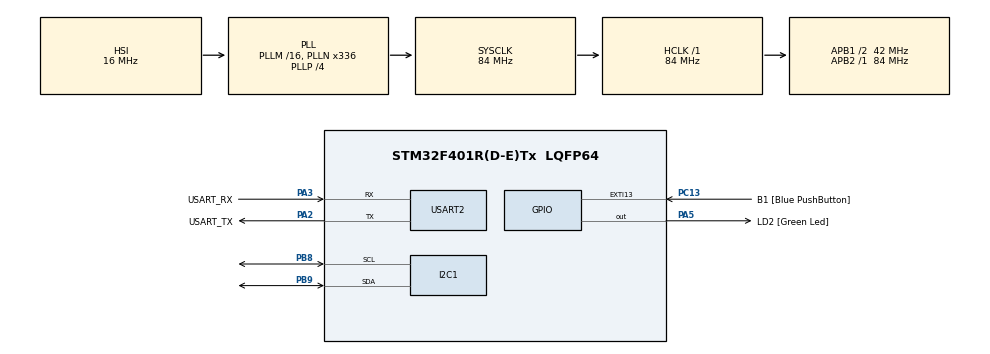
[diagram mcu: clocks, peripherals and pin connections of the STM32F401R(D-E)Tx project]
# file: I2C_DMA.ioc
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Dma.I2C1_RX.1.Direction=DMA_PERIPH_TO_MEMORY
Dma.I2C1_RX.1.FIFOMode=DMA_FIFOMODE_DISABLE
Dma.I2C1_RX.1.Instance=DMA1_Stream0
Dma.I2C1_RX.1.MemDataAlignment=DMA_MDATAALIGN_BYTE
Dma.I2C1_RX.1.MemInc=DMA_MINC_ENABLE
Dma.I2C1_RX.1.Mode=DMA_NORMAL
Dma.I2C1_RX.1.PeriphDataAlignment=DMA_PDATAALIGN_BYTE
Dma.I2C1_RX.1.PeriphInc=DMA_PINC_DISABLE
Dma.I2C1_RX.1.Priority=DMA_PRIORITY_LOW
Dma.I2C1_TX.0.Direction=DMA_MEMORY_TO_PERIPH
Dma.I2C1_TX.0.FIFOMode=DMA_FIFOMODE_DISABLE
Dma.I2C1_TX.0.Instance=DMA1_Stream6
Dma.I2C1_TX.0.MemDataAlignment=DMA_MDATAALIGN_BYTE
Dma.I2C1_TX.0.MemInc=DMA_MINC_ENABLE
Dma.I2C1_TX.0.Mode=DMA_NORMAL
Dma.I2C1_TX.0.PeriphDataAlignment=DMA_PDATAALIGN_BYTE
Dma.I2C1_TX.0.PeriphInc=DMA_PINC_DISABLE
Dma.I2C1_TX.0.Priority=DMA_PRIORITY_LOW
Dma.Request0=I2C1_TX
Dma.Request1=I2C1_RX
Mcu.Family=STM32F4
Mcu.Name=STM32F401R(D-E)Tx
Mcu.Package=LQFP64
NVIC.DMA1_Stream0_IRQn=true\:0\:0\:false\:false\:true\:false\:true\:true
NVIC.DMA1_Stream6_IRQn=true\:0\:0\:false\:false\:true\:false\:true\:true
NVIC.I2C1_EV_IRQn=true\:0\:0\:false\:false\:true\:true\:true\:true
NVIC.PriorityGroup=NVIC_PRIORITYGROUP_4
PA13.GPIO_Label=TMS
PA13.Mode=Trace_Asynchronous_SW
PA13.Signal=SYS_JTMS-SWDIO
PA14.GPIO_Label=TCK
PA14.Mode=Trace_Asynchronous_SW
PA14.Signal=SYS_JTCK-SWCLK
PA2.GPIO_Label=USART_TX
PA2.GPIO_Mode=GPIO_MODE_AF_PP
PA2.GPIO_PuPd=GPIO_NOPULL
PA2.GPIO_Speed=GPIO_SPEED_FREQ_LOW
PA2.Mode=Asynchronous
PA2.Signal=USART2_TX
PA3.GPIO_Label=USART_RX
PA3.GPIO_Mode=GPIO_MODE_AF_PP
PA3.GPIO_PuPd=GPIO_NOPULL
PA3.GPIO_Speed=GPIO_SPEED_FREQ_LOW
PA3.Mode=Asynchronous
PA3.Signal=USART2_RX
PA5.GPIO_Label=LD2 [Green Led]
PA5.GPIO_Mode=GPIO_MODE_OUTPUT_PP
PA5.GPIO_PuPd=GPIO_NOPULL
PA5.GPIO_Speed=GPIO_SPEED_FREQ_LOW
PA5.Signal=GPIO_Output
PB3.GPIO_Label=SWO
PB3.Mode=Trace_Asynchronous_SW
PB3.Signal=SYS_JTDO-SWO
PB8.Mode=I2C
PB8.Signal=I2C1_SCL
PB9.Mode=I2C
PB9.Signal=I2C1_SDA
PC13-ANTI_TAMP.GPIO_Label=B1 [Blue PushButton]
PC13-ANTI_TAMP.GPIO_ModeDefaultEXTI=GPIO_MODE_IT_FALLING
PC13-ANTI_TAMP.GPIO_PuPd=GPIO_NOPULL
PC13-ANTI_TAMP.Signal=GPXTI13
PC14-OSC32_IN.Mode=LSE-External-Oscillator
PC14-OSC32_IN.Signal=RCC_OSC32_IN
PC15-OSC32_OUT.Mode=LSE-External-Oscillator
PC15-OSC32_OUT.Signal=RCC_OSC32_OUT
PH0\ -\ OSC_IN.Mode=HSE-External-Clock-Source
PH0\ -\ OSC_IN.Signal=RCC_OSC_IN
PH1\ -\ OSC_OUT.Mode=HSE-External-Clock-Source
PH1\ -\ OSC_OUT.Signal=RCC_OSC_OUT
ProjectManager.HeapSize=0x200
ProjectManager.StackSize=0x400
ProjectManager.TargetToolchain=STM32CubeIDE
RCC.48MHZClocksFreq_Value=48000000
RCC.AHBFreq_Value=84000000
RCC.APB1CLKDivider=RCC_HCLK_DIV2
RCC.APB1Freq_Value=42000000
RCC.APB1TimFreq_Value=84000000
RCC.APB2Freq_Value=84000000
RCC.APB2TimFreq_Value=84000000
RCC.CortexFreq_Value=84000000
RCC.HCLKFreq_Value=84000000
RCC.HSE_VALUE=8000000
RCC.HSI_VALUE=16000000
RCC.PLLN=336
RCC.PLLP=RCC_PLLP_DIV4
RCC.PLLQ=7
RCC.SYSCLKFreq_VALUE=84000000
RCC.SYSCLKSource=RCC_SYSCLKSOURCE_PLLCLK
RCC.VCOOutputFreq_Value=336000000
USART2.VirtualMode=VM_ASYNC
board=NUCLEO-F401RE

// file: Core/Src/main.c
/* USER CODE BEGIN Header */
/**
  ******************************************************************************
  * @file           : main.c
  * @brief          : Main program body
  ******************************************************************************
  * @attention
  *
  * Copyright (c) 2025 STMicroelectronics.
  * All rights reserved.
  *
  * This software is licensed under terms that can be found in the LICENSE file
  * in the root directory of this software component.
  * If no LICENSE file comes with this software, it is provided AS-IS.
  *
  ******************************************************************************
  */
/* USER CODE END Header */
#include "main.h"

I2C_HandleTypeDef hi2c1;
DMA_HandleTypeDef hdma_i2c1_tx;
DMA_HandleTypeDef hdma_i2c1_rx;

UART_HandleTypeDef huart2;

/* USER CODE BEGIN PV */
uint8_t txBuffer[] = "Hello Arduino!";
uint8_t rxBuffer[11];
volatile uint8_t txInProgress = 0;
volatile uint8_t rxInProgress = 0;
/* USER CODE END PV */

void SystemClock_Config(void);
static void MX_GPIO_Init(void);
static void MX_DMA_Init(void);
static void MX_USART2_UART_Init(void);
static void MX_I2C1_Init(void);

/* USER CODE BEGIN 0 */
void HAL_I2C_MasterTxCpltCallback(I2C_HandleTypeDef *hi2c) {
	if (hi2c->Instance == I2C1)
	{
		txInProgress = 0;
	    rxInProgress = 1;
	    HAL_I2C_Master_Receive_DMA(&hi2c1, 0x08 << 1, rxBuffer, sizeof(rxBuffer));
	}
}

void HAL_I2C_MasterRxCpltCallback(I2C_HandleTypeDef *hi2c) {
	if (hi2c->Instance == I2C1)
	{
		rxInProgress = 0;
	    txInProgress = 1;
	    HAL_UART_Transmit(&huart2, rxBuffer, strlen((char*)rxBuffer), HAL_MAX_DELAY);
	    HAL_I2C_Master_Transmit_DMA(&hi2c1, 0x08 << 1, txBuffer, (sizeof(txBuffer)-1));
	}
}
/* USER CODE END 0 */

int main(void)
{

  /* MCU Configuration--------------------------------------------------------*/

  /* Reset of all peripherals, Initializes the Flash interface and the Systick. */
  HAL_Init();

  /* Configure the system clock */
  SystemClock_Config();

  /* Initialize all configured peripherals */
  MX_GPIO_Init();
  MX_DMA_Init();
  MX_USART2_UART_Init();
  MX_I2C1_Init();
  /* USER CODE BEGIN 2 */
  txInProgress = 1;
  HAL_I2C_Master_Transmit_DMA(&hi2c1, 0x08 << 1, txBuffer, (sizeof(txBuffer)-1));
  /* USER CODE END 2 */

  /* Infinite loop */
  /* USER CODE BEGIN WHILE */
  while (1)
  {
	  HAL_GPIO_TogglePin(GPIOA, GPIO_PIN_5);
	  HAL_Delay(100); // simulate periodic work
    /* USER CODE END WHILE */

  }
}

void SystemClock_Config(void)
{
  RCC_OscInitTypeDef RCC_OscInitStruct = {0};
  RCC_ClkInitTypeDef RCC_ClkInitStruct = {0};

  /** Configure the main internal regulator output voltage
  */
  __HAL_RCC_PWR_CLK_ENABLE();
  __HAL_PWR_VOLTAGESCALING_CONFIG(PWR_REGULATOR_VOLTAGE_SCALE2);

  /** Initializes the RCC Oscillators according to the specified parameters
  * in the RCC_OscInitTypeDef structure.
  */
  RCC_OscInitStruct.OscillatorType = RCC_OSCILLATORTYPE_HSI;
  RCC_OscInitStruct.HSIState = RCC_HSI_ON;
  RCC_OscInitStruct.HSICalibrationValue = RCC_HSICALIBRATION_DEFAULT;
  RCC_OscInitStruct.PLL.PLLState = RCC_PLL_ON;
  RCC_OscInitStruct.PLL.PLLSource = RCC_PLLSOURCE_HSI;
  RCC_OscInitStruct.PLL.PLLM = 16;
  RCC_OscInitStruct.PLL.PLLN = 336;
  RCC_OscInitStruct.PLL.PLLP = RCC_PLLP_DIV4;
  RCC_OscInitStruct.PLL.PLLQ = 7;
  if (HAL_RCC_OscConfig(&RCC_OscInitStruct) != HAL_OK)
  {
    Error_Handler();
  }

  /** Initializes the CPU, AHB and APB buses clocks
  */
  RCC_ClkInitStruct.ClockType = RCC_CLOCKTYPE_HCLK|RCC_CLOCKTYPE_SYSCLK
                              |RCC_CLOCKTYPE_PCLK1|RCC_CLOCKTYPE_PCLK2;
  RCC_ClkInitStruct.SYSCLKSource = RCC_SYSCLKSOURCE_PLLCLK;
  RCC_ClkInitStruct.AHBCLKDivider = RCC_SYSCLK_DIV1;
  RCC_ClkInitStruct.APB1CLKDivider = RCC_HCLK_DIV2;
  RCC_ClkInitStruct.APB2CLKDivider = RCC_HCLK_DIV1;

  if (HAL_RCC_ClockConfig(&RCC_ClkInitStruct, FLASH_LATENCY_2) != HAL_OK)
  {
    Error_Handler();
  }
}

static void MX_I2C1_Init(void)
{

  hi2c1.Instance = I2C1;
  hi2c1.Init.ClockSpeed = 100000;
  hi2c1.Init.DutyCycle = I2C_DUTYCYCLE_2;
  hi2c1.Init.OwnAddress1 = 0;
  hi2c1.Init.AddressingMode = I2C_ADDRESSINGMODE_7BIT;
  hi2c1.Init.DualAddressMode = I2C_DUALADDRESS_DISABLE;
  hi2c1.Init.OwnAddress2 = 0;
  hi2c1.Init.GeneralCallMode = I2C_GENERALCALL_DISABLE;
  hi2c1.Init.NoStretchMode = I2C_NOSTRETCH_DISABLE;
  if (HAL_I2C_Init(&hi2c1) != HAL_OK)
  {
    Error_Handler();
  }
  /* USER CODE BEGIN I2C1_Init 2 */
  __HAL_LINKDMA(&hi2c1, hdmatx, hdma_i2c1_tx);
  __HAL_LINKDMA(&hi2c1, hdmarx, hdma_i2c1_rx);
  /* USER CODE END I2C1_Init 2 */

}

static void MX_USART2_UART_Init(void)
{

  huart2.Instance = USART2;
  huart2.Init.BaudRate = 115200;
  huart2.Init.WordLength = UART_WORDLENGTH_8B;
  huart2.Init.StopBits = UART_STOPBITS_1;
  huart2.Init.Parity = UART_PARITY_NONE;
  huart2.Init.Mode = UART_MODE_TX_RX;
  huart2.Init.HwFlowCtl = UART_HWCONTROL_NONE;
  huart2.Init.OverSampling = UART_OVERSAMPLING_16;
  if (HAL_UART_Init(&huart2) != HAL_OK)
  {
    Error_Handler();
  }

}

static void MX_DMA_Init(void)
{

  /* DMA controller clock enable */
  __HAL_RCC_DMA1_CLK_ENABLE();

  /* DMA interrupt init */
  /* DMA1_Stream0_IRQn interrupt configuration */
  HAL_NVIC_SetPriority(DMA1_Stream0_IRQn, 0, 0);
  HAL_NVIC_EnableIRQ(DMA1_Stream0_IRQn);
  /* DMA1_Stream6_IRQn interrupt configuration */
  HAL_NVIC_SetPriority(DMA1_Stream6_IRQn, 0, 0);
  HAL_NVIC_EnableIRQ(DMA1_Stream6_IRQn);

}

static void MX_GPIO_Init(void)
{
  GPIO_InitTypeDef GPIO_InitStruct = {0};

  /* GPIO Ports Clock Enable */
  __HAL_RCC_GPIOC_CLK_ENABLE();
  __HAL_RCC_GPIOH_CLK_ENABLE();
  __HAL_RCC_GPIOA_CLK_ENABLE();
  __HAL_RCC_GPIOB_CLK_ENABLE();

  /*Configure GPIO pin Output Level */
  HAL_GPIO_WritePin(LD2_GPIO_Port, LD2_Pin, GPIO_PIN_RESET);

  /*Configure GPIO pin : B1_Pin */
  GPIO_InitStruct.Pin = B1_Pin;
  GPIO_InitStruct.Mode = GPIO_MODE_IT_FALLING;
  GPIO_InitStruct.Pull = GPIO_NOPULL;
  HAL_GPIO_Init(B1_GPIO_Port, &GPIO_InitStruct);

  /*Configure GPIO pin : LD2_Pin */
  GPIO_InitStruct.Pin = LD2_Pin;
  GPIO_InitStruct.Mode = GPIO_MODE_OUTPUT_PP;
  GPIO_InitStruct.Pull = GPIO_NOPULL;
  GPIO_InitStruct.Speed = GPIO_SPEED_FREQ_LOW;
  HAL_GPIO_Init(LD2_GPIO_Port, &GPIO_InitStruct);

}

void Error_Handler(void)
{
  __disable_irq();
  while (1)
  {
  }
}
